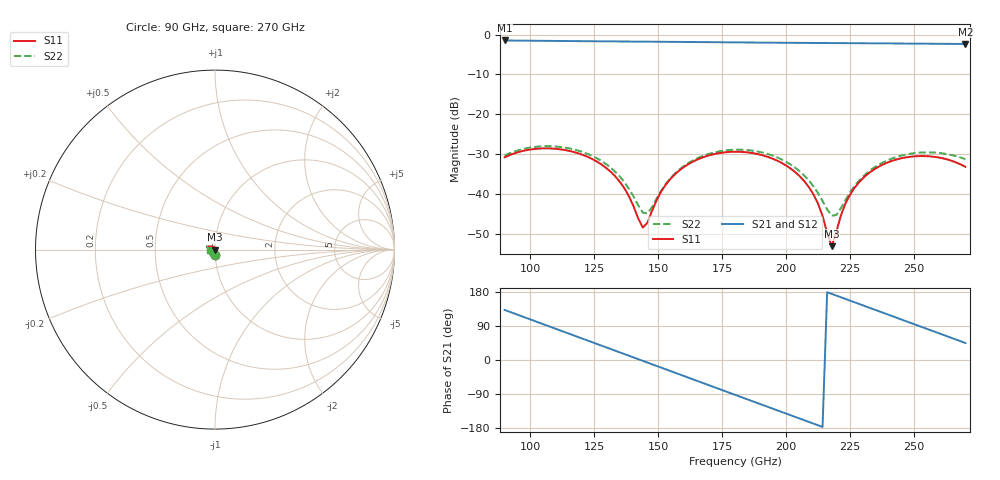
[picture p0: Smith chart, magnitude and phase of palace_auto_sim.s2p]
#  GHZ S DB R 50
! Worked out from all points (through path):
!   101 points, 90 GHz to 270 GHz, reference 50 ohm
!   highest |S21| = -1.46 dB at 90 GHz (marker M1); lowest = -2.3 dB at 270 GHz (marker M2)
!   group delay of S21, straight-line fit = 6.9 ps
!   lowest |S11| = -53.1 dB at 217.8 GHz (marker M3), VSWR 1.00, Z = 49.8 - j0.105 ohm
!   |S11| at or under -10 dB: start of sweep to end of sweep
!   |S22| runs from -45.5 to -28.0 dB; largest |S21 - S12| = 1.3e-13
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90  -30.81 -86.6  -1.46 132.1  -1.46 132.1  -30.36 -85.0
106.2  -28.56 -126.8  -1.56 91.8  -1.56 91.8  -28.02 -124.4
120.6  -30.21 -162.3  -1.64 55.9  -1.64 55.9  -29.50 -158.6
135  -36.94 168.8  -1.72 20.1  -1.72 20.1  -35.63 175.2
144  -48.46 -147.0  -1.76 -2.3  -1.76 -2.3  -44.69 -153.9
145.8  -47.23 -113.8  -1.77 -6.8  -1.77 -6.8  -44.88 -129.9
151.2  -39.37 -88.6  -1.79 -20.2  -1.79 -20.2  -39.15 -95.6
156.6  -35.03 -94.2  -1.82 -33.6  -1.82 -33.6  -34.83 -96.5
163.8  -31.82 -108.8  -1.86 -51.6  -1.86 -51.6  -31.51 -108.4
180  -29.41 -147.1  -1.95 -91.8  -1.95 -91.8  -28.89 -143.7
189  -30.01 -168.9  -1.99 -114.2  -1.99 -114.2  -29.37 -163.9
198  -32.13 169.9  -2.04 -136.5  -2.04 -136.5  -31.28 177.1
205.2  -35.51 154.4  -2.07 -154.3  -2.07 -154.3  -34.28 164.7
210.6  -40.06 146.4  -2.09 -167.7  -2.09 -167.7  -38.06 160.9
214.2  -45.52 149.3  -2.11 -176.6  -2.11 -176.6  -41.77 167.6
217.8  -53.12 -151.5  -2.12 174.4  -2.12 174.4  -45.47 -162.2
219.6  -49.47 -109.5  -2.13 170.0  -2.13 170.0  -45.30 -138.5
223.2  -42.34 -94.0  -2.14 161.0  -2.14 161.0  -41.47 -111.2
226.8  -38.37 -96.5  -2.16 152.1  -2.16 152.1  -37.94 -105.6
241.2  -31.73 -125.4  -2.22 116.3  -2.22 116.3  -31.14 -124.5
255.6  -30.54 -158.6  -2.28 80.6  -2.28 80.6  -29.56 -153.1
270  -33.20 168.7  -2.35 44.9  -2.35 44.9  -31.28 -179.5
